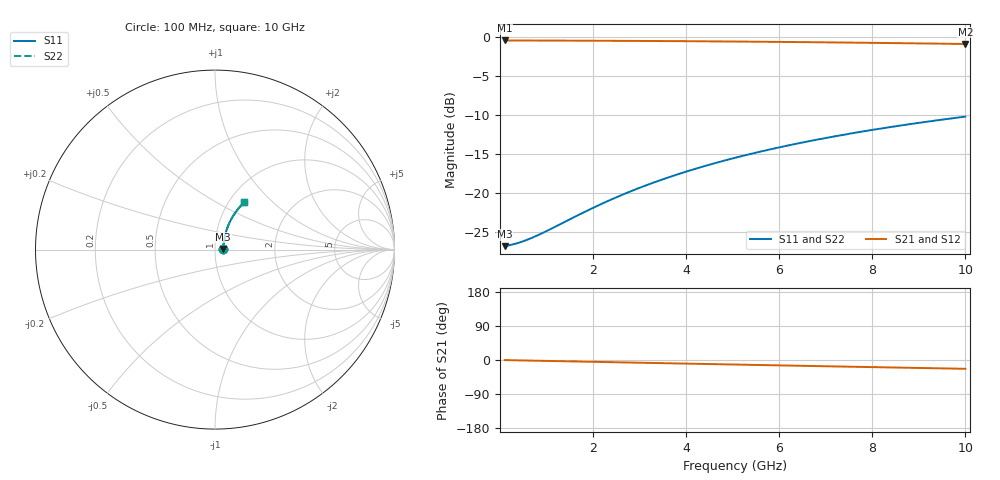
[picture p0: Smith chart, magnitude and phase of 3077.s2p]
# Hz S RI R 50.00
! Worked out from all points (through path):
!   100 points, 100 MHz to 10 GHz, reference 50 ohm
!   highest |S21| = -0.40 dB at 100 MHz (marker M1); lowest = -0.9 dB at 10 GHz (marker M2)
!   group delay of S21, straight-line fit = 6.46 ps
!   lowest |S11| = -26.9 dB at 100 MHz (marker M3), VSWR 1.10, Z = 54.7 + j0.336 ohm
!   |S11| at or under -10 dB: start of sweep to end of sweep
!   |S22| runs from -26.9 to -10.2 dB; largest |S21 - S12| = 0
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1e8  0.0453 0.00306  0.9547 -0.004  0.9547 -0.004  0.0453 0.00306
3e8  0.0459 0.00917  0.9541 -0.012  0.9541 -0.012  0.0459 0.00917
4e8  0.0461 0.0122  0.9539 -0.016  0.9539 -0.016  0.0461 0.0122
5e8  0.0464 0.0153  0.9536 -0.0199  0.9536 -0.0199  0.0464 0.0153
7e8  0.0469 0.0213  0.953 -0.0279  0.953 -0.0279  0.0469 0.0213
1e9  0.0479 0.0305  0.9521 -0.0398  0.9521 -0.0398  0.0479 0.0305
1.8e9  0.0512 0.0546  0.9486 -0.0714  0.9486 -0.0714  0.0512 0.0546
2.2e9  0.0534 0.0665  0.9463 -0.0871  0.9463 -0.0871  0.0534 0.0665
2.6e9  0.056 0.0783  0.9436 -0.1027  0.9436 -0.1027  0.056 0.0783
3e9  0.059 0.0901  0.9406 -0.1182  0.9406 -0.1182  0.059 0.0901
3.4e9  0.0623 0.1016  0.9371 -0.1335  0.9371 -0.1335  0.0623 0.1016
3.8e9  0.066 0.1131  0.9333 -0.1488  0.9333 -0.1488  0.066 0.1131
4.2e9  0.0701 0.1244  0.9291 -0.1638  0.9291 -0.1638  0.0701 0.1244
4.6e9  0.0744 0.1355  0.9246 -0.1787  0.9246 -0.1787  0.0744 0.1355
5.1e9  0.0804 0.1491  0.9184 -0.197  0.9184 -0.197  0.0804 0.1491
5.5e9  0.0856 0.1598  0.913 -0.2115  0.913 -0.2115  0.0856 0.1598
5.9e9  0.091 0.1702  0.9074 -0.2257  0.9074 -0.2257  0.091 0.1702
6.7e9  0.1029 0.1904  0.895 -0.2535  0.895 -0.2535  0.1029 0.1904
7.5e9  0.1159 0.2097  0.8815 -0.2803  0.8815 -0.2803  0.1159 0.2097
8.4e9  0.1317 0.23  0.865 -0.3092  0.865 -0.3092  0.1317 0.23
9.2e9  0.1468 0.247  0.8493 -0.3338  0.8493 -0.3338  0.1468 0.247
1e10  0.1627 0.2627  0.8326 -0.3572  0.8326 -0.3572  0.1627 0.2627
